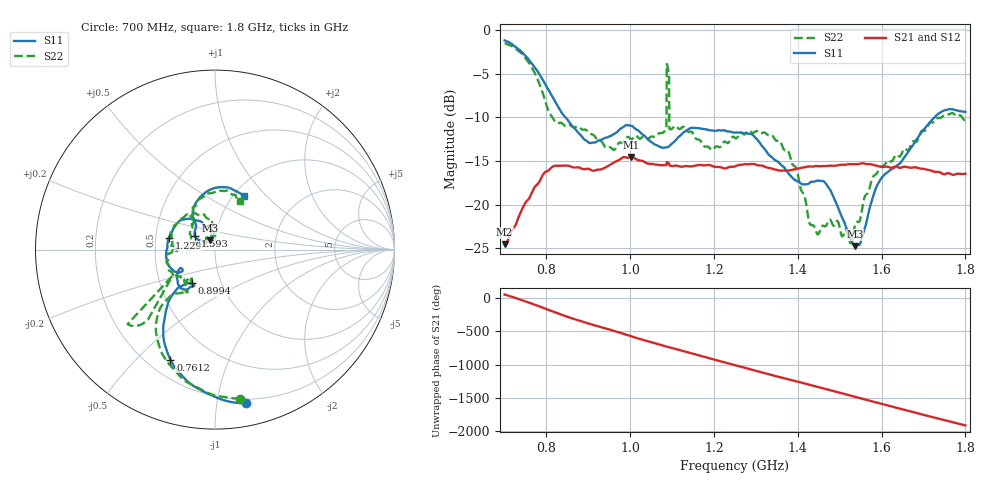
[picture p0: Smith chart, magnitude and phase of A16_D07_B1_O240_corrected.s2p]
! Created with skrf 1.9.0 (http://scikit-rf.org).
# Hz S RI R 50.0
!freq ReS11 ImS11 ReS21 ImS21 ReS12 ImS12 ReS22 ImS22
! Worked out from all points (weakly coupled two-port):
!   1601 points, 700 MHz to 1.8 GHz, reference 50 ohm
!   highest |S21| = -14.53 dB at 1.002 GHz (marker M1); lowest = -24.5 dB at 700 MHz (marker M2)
!   lowest |S11| = -24.7 dB at 1.537 GHz (marker M3), VSWR 1.12, Z = 47.2 + j4.91 ohm
!   |S11| at or under -10 dB: 845.5 MHz to 1.726 GHz (880.3 MHz wide, 68.5 % of centre)
!   |S22| runs from -24.4 to -1.5 dB; largest |S21 - S12| = 0.0036
!   S11 on the Smith chart (normalised r, x): 700 MHz: 0.17, -1.21; 761.2 MHz: 0.29, -0.63; 899.4 MHz: 0.72, -0.29; 1.229 GHz: 0.59, +0.08; 1.593 GHz: 0.79, +0.12; 1.8 GHz: 1.12, +0.76
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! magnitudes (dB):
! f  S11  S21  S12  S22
! 700 MHz  -1.2  -24.5  -24.3  -1.5
! 761.2 MHz  -3.6  -19.0  -18.9  -4.0
! 819.6 MHz  -8.1  -15.5  -15.6  -10.4
! 883.6 MHz  -12.1  -15.8  -15.7  -11.3
! 899.4 MHz  -12.8  -15.9  -15.9  -11.7
! 1.002 GHz  -11.0  -14.5  -14.6  -12.5
! 1.067 GHz  -13.3  -15.4  -15.4  -11.9
! 1.081 GHz  -13.5  -15.5  -15.5  -11.6
! 1.087 GHz  -13.4  -15.1  -15.1  -3.9
! 1.093 GHz  -13.3  -15.3  -15.3  -5.4
! 1.099 GHz  -13.0  -15.6  -15.5  -11.3
! 1.229 GHz  -11.6  -15.8  -15.7  -12.9
! 1.25 GHz  -11.7  -15.6  -15.5  -12.3
! 1.357 GHz  -15.3  -16.1  -16.0  -12.7
! 1.396 GHz  -17.2  -15.9  -15.9  -15.8
! 1.434 GHz  -17.4  -15.6  -15.6  -22.3
! 1.472 GHz  -17.9  -15.5  -15.5  -21.9
! 1.537 GHz  -24.7  -15.3  -15.4  -22.3
! 1.593 GHz  -17.5  -15.6  -15.6  -16.0
! 1.617 GHz  -16.2  -15.7  -15.7  -14.9
! 1.735 GHz  -9.6  -16.2  -16.3  -10.0
! 1.8 GHz  -9.4  -16.5  -16.5  -10.3
